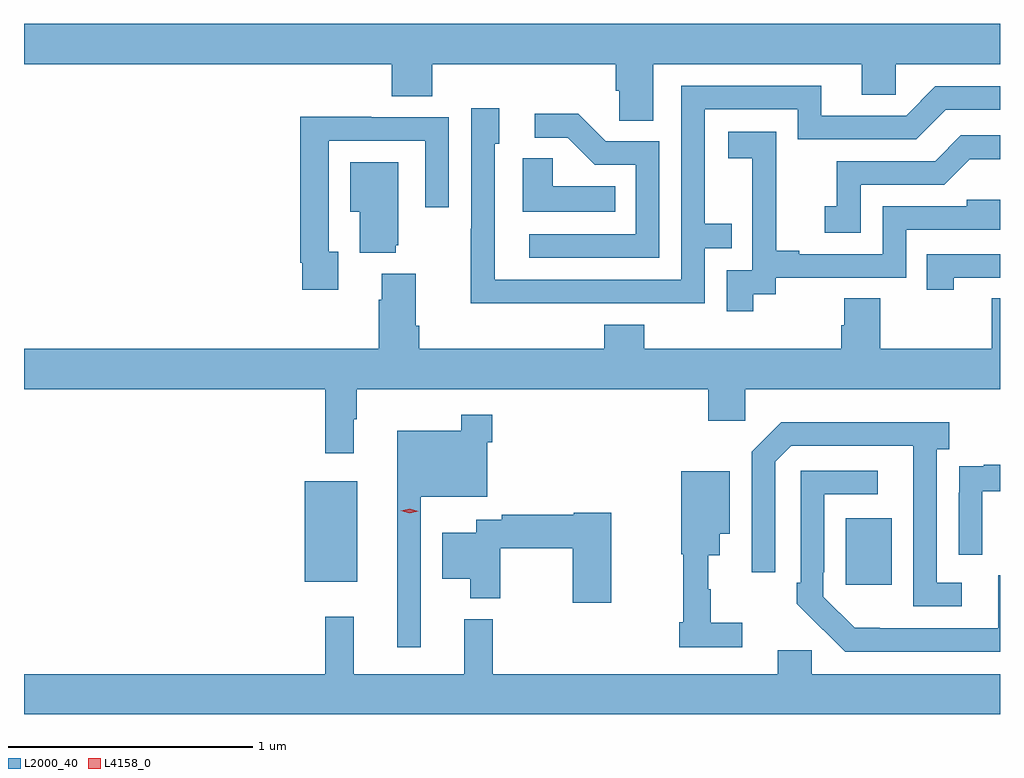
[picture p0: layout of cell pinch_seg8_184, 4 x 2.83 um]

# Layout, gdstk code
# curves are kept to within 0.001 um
import gdstk
lib = gdstk.Library(unit=1e-6, precision=1e-09)
def R(c, l, rs):  # rectangles x0, y0, x1, y1
    for r in rs: c.add(gdstk.rectangle(r[:2], r[2:], *l))
def P(c, l, *ps):  # polygons
    for p in ps: c.add(gdstk.Polygon(p, *l))
L2000_40 = (2000, 40)
L4158_0 = (4158, 0)

pinch_seg8_184 = lib.new_cell('pinch_seg8_184')
R(pinch_seg8_184, L2000_40, [(699.929,1137.009,700.117,1137.283), (697.712,1137.023,697.927,1137.433)])
P(pinch_seg8_184, L2000_40, [(699.139,1139.144),(699.995,1139.144),(699.995,1139.017),(700.134,1139.017),(700.134,1139.144),(700.561,1139.144),(700.561,1139.308),(696.561,1139.308),(696.561,1139.144),(698.069,1139.144),(698.069,1139.011),(698.234,1139.011),(698.234,1139.144),(698.987,1139.144),(698.987,1139.035),(699,1139.035),(699,1138.912),(699.139,1138.912)],
  [(698.855,1138.164),(699.351,1138.164),(699.351,1138.389),(699.461,1138.389),(699.461,1138.49),(699.351,1138.49),(699.351,1138.959),(699.732,1138.959),(699.732,1138.836),(700.218,1138.836),(700.338,1138.956),(700.561,1138.956),(700.561,1139.052),(700.296,1139.052),(700.176,1138.932),(699.829,1138.932),(699.829,1139.055),(699.255,1139.055),(699.255,1138.26),(698.49,1138.26),(698.49,1138.818),(698.509,1138.818),(698.509,1138.963),(698.394,1138.963),(698.394,1138.469),(698.392,1138.469),(698.392,1138.163)],
  [(699.165,1138.827),(698.946,1138.827),(698.833,1138.94),(698.655,1138.94),(698.655,1138.842),(698.789,1138.842),(698.9,1138.731),(699.069,1138.731),(699.069,1138.446),(698.631,1138.446),(698.631,1138.35),(699.165,1138.35)],
  [(697.849,1138.374),(697.809,1138.374),(697.809,1138.83),(698.205,1138.83),(698.205,1138.557),(698.301,1138.557),(698.301,1138.926),(697.985,1138.926),(697.985,1138.928),(697.693,1138.928),(697.693,1138.33),(697.701,1138.33),(697.701,1138.218),(697.849,1138.218)],
  [(699.55,1138.201),(699.642,1138.201),(699.642,1138.269),(700.176,1138.269),(700.176,1138.464),(700.561,1138.464),(700.561,1138.587),(700.425,1138.587),(700.425,1138.56),(700.08,1138.56),(700.08,1138.365),(699.739,1138.365),(699.739,1138.378),(699.644,1138.378),(699.644,1138.661),(699.645,1138.661),(699.645,1138.867),(699.447,1138.867),(699.447,1138.757),(699.545,1138.757),(699.545,1138.529),(699.546,1138.529),(699.546,1138.299),(699.441,1138.299),(699.441,1138.131),(699.55,1138.131)],
  [(699.99,1138.65),(700.332,1138.65),(700.436,1138.754),(700.561,1138.754),(700.561,1138.851),(700.4,1138.851),(700.295,1138.746),(699.892,1138.746),(699.892,1138.561),(699.843,1138.561),(699.843,1138.452),(699.99,1138.452)],
  [(698.984,1138.642),(698.727,1138.642),(698.727,1138.757),(698.606,1138.757),(698.606,1138.538),(698.984,1138.538)],
  [(698.084,1138.401),(698.095,1138.401),(698.095,1138.741),(697.898,1138.741),(697.898,1138.538),(697.937,1138.538),(697.937,1138.37),(698.084,1138.37)],
  [(700.372,1138.269),(700.561,1138.269),(700.561,1138.365),(700.261,1138.365),(700.261,1138.218),(700.372,1138.218)],
  [(699.365,1137.681),(699.516,1137.681),(699.516,1137.812),(700.561,1137.812),(700.561,1138.184),(700.528,1138.184),(700.528,1137.976),(700.071,1137.976),(700.071,1138.184),(699.923,1138.184),(699.923,1138.074),(699.911,1138.074),(699.911,1137.976),(699.104,1137.976),(699.104,1138.075),(698.939,1138.075),(698.939,1137.976),(698.18,1137.976),(698.18,1138.072),(698.167,1138.072),(698.167,1138.285),(698.027,1138.285),(698.027,1138.178),(698.015,1138.178),(698.015,1137.976),(696.561,1137.976),(696.561,1137.812),(697.795,1137.812),(697.795,1137.549),(697.912,1137.549),(697.912,1137.689),(697.924,1137.689),(697.924,1137.812),(699.365,1137.812)],
  [(698.187,1137.371),(698.46,1137.371),(698.46,1137.593),(698.48,1137.593),(698.48,1137.706),(698.352,1137.706),(698.352,1137.64),(698.09,1137.64),(698.09,1136.754),(698.187,1136.754)],
  [(700.405,1137.018),(700.302,1137.018),(700.302,1137.566),(700.354,1137.566),(700.354,1137.676),(699.664,1137.676),(699.543,1137.555),(699.543,1137.06),(699.639,1137.06),(699.639,1137.513),(699.705,1137.579),(700.205,1137.579),(700.206,1136.922),(700.405,1136.922)],
  [(700.488,1137.393),(700.561,1137.393),(700.561,1137.502),(700.495,1137.502),(700.495,1137.495),(700.393,1137.495),(700.393,1137.386),(700.392,1137.386),(700.392,1137.132),(700.488,1137.132)],
  [(700.561,1137.048),(700.553,1137.048),(700.553,1136.832),(699.966,1136.833),(699.837,1136.961),(699.837,1137.061),(699.84,1137.061),(699.84,1137.381),(700.06,1137.381),(700.06,1137.477),(699.744,1137.477),(699.744,1137.019),(699.729,1137.019),(699.729,1136.931),(699.926,1136.736),(700.561,1136.736)],
  [(699.505,1136.855),(699.376,1136.855),(699.376,1136.991),(699.365,1136.991),(699.365,1137.131),(699.412,1137.131),(699.412,1137.218),(699.454,1137.218),(699.454,1137.475),(699.254,1137.475),(699.254,1137.135),(699.262,1137.135),(699.262,1136.857),(699.247,1136.857),(699.247,1136.754),(699.505,1136.754)],
  [(698.968,1137.304),(698.814,1137.304),(698.814,1137.296),(698.518,1137.296),(698.518,1137.276),(698.415,1137.276),(698.415,1137.223),(698.276,1137.223),(698.276,1137.035),(698.39,1137.035),(698.39,1136.954),(698.512,1136.954),(698.512,1137.16),(698.81,1137.16),(698.81,1136.937),(698.968,1136.937)],
  [(700.561,1136.644),(699.789,1136.644),(699.789,1136.742),(699.65,1136.742),(699.65,1136.644),(698.483,1136.644),(698.483,1136.869),(698.366,1136.869),(698.366,1136.644),(697.913,1136.644),(697.913,1136.878),(697.795,1136.878),(697.795,1136.644),(696.561,1136.644),(696.561,1136.48),(700.561,1136.48)])
P(pinch_seg8_184, L4158_0, [(698.141,1137.302),(698.105,1137.313),(698.105,1137.313),(698.105,1137.313),(698.142,1137.322),(698.177,1137.31),(698.177,1137.31),(698.177,1137.31)])

lib.write_gds('pinch_seg8_184.gds')
